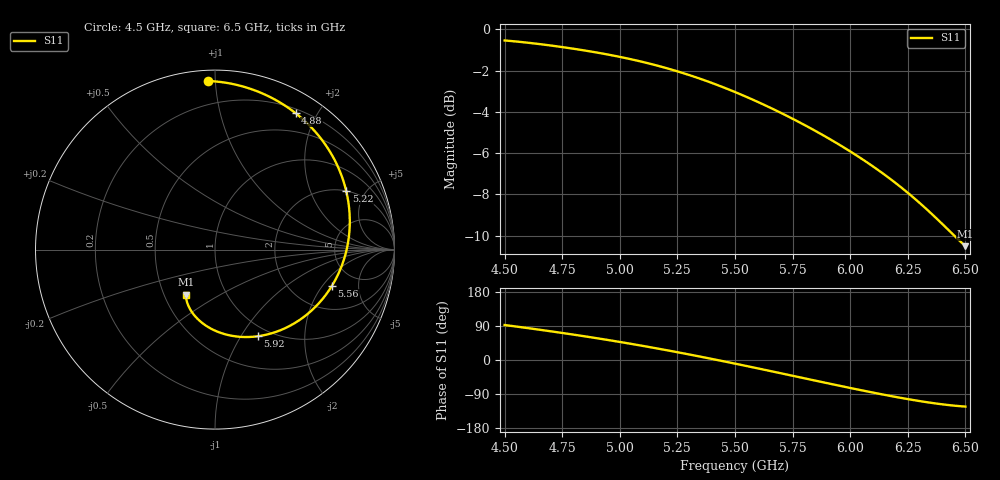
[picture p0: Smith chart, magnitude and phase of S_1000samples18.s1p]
! TOUCHSTONE file generated by CST MICROWAVE STUDIO
! Date and time: Wed Oct 26 17:20:37 2022
! Project name: L.cst
! Parameters = {Di=1.27; Epsilon_r=1.56; InnerDiameter=1.27; Length=2; Lf=10; Lg=60; OuterConductorThickness=0.2921; OuterDiameter=3.6; Wf=3; Wp=41.2; de=1.5; df=6.8; g=0.8; gx=3.32095; gy=4.1244; h=2.34; hf=1.524; px=13.3026; py=8.55783; w=9.7; wx=9.98168; wy=4.43343}
! Header version: 2018
! Port assignment regex: !\s*Touchstone port\s*([0-9]+)\s*=\s*(CST MWS port|CST DS port)\s*([0-9]+|Zmin|Zmax)\s*\(\"(.*)\"\)(\s*mode\s*([0-9]+))?.*
! Touchstone port assignment:
! Touchstone port 1 = CST MWS port 1 ("")
# GHz S DB R 50
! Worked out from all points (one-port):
!   101 points, 4.5 GHz to 6.5 GHz, reference 50 ohm
!   lowest |S11| = -10.5 dB at 6.5 GHz (marker M1), VSWR 1.85, Z = 32.2 - j17.7 ohm
!   |S11| at or under -10 dB: 6.452 GHz to end of sweep
!   S11 on the Smith chart (normalised r, x): 4.5 GHz: 0.06, +0.96; 4.88 GHz: 0.25, +1.73; 5.22 GHz: 2.02, +3.66; 5.56 GHz: 3.31, -2.49; 5.92 GHz: 0.87, -1.19; 6.5 GHz: 0.64, -0.35
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4.5  -0.54 92.3
4.58  -0.62 85.9
4.64  -0.70 80.9
4.76  -0.87 70.5
4.82  -0.97 65.0
4.88  -1.08 59.4
5  -1.33 47.6
5.06  -1.48 41.4
5.12  -1.63 35.0
5.22  -1.93 24.0
5.26  -2.07 19.4
5.32  -2.28 12.4
5.38  -2.52 5.2
5.44  -2.77 -2.1
5.5  -3.04 -9.6
5.56  -3.32 -17.2
5.66  -3.83 -30.0
5.76  -4.39 -42.9
5.84  -4.87 -53.3
5.92  -5.37 -63.6
6  -5.91 -73.8
6.06  -6.35 -81.2
6.14  -6.97 -90.9
6.2  -7.47 -97.7
6.26  -8.01 -104.2
6.32  -8.60 -110.2
6.38  -9.22 -115.4
6.5  -10.51 -122.9
